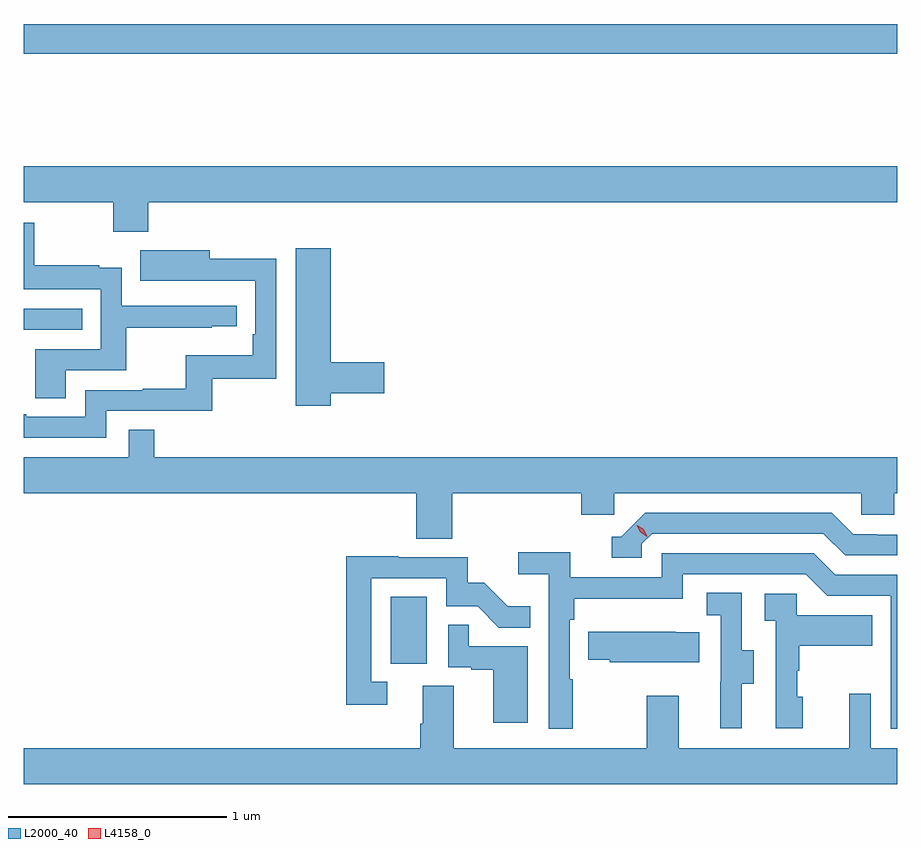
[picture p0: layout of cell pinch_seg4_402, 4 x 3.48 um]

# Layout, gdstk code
import gdstk
lib = gdstk.Library(unit=1e-6, precision=1e-09)
def R(c, l, rs):  # rectangles x0, y0, x1, y1
    for r in rs: c.add(gdstk.rectangle(r[:2], r[2:], *l))
def P(c, l, *ps):  # polygons
    for p in ps: c.add(gdstk.Polygon(p, *l))
L2000_40 = (2000, 40)
L4158_0 = (4158, 0)

pinch_seg4_402 = lib.new_cell('pinch_seg4_402')
R(pinch_seg4_402, L2000_40, [(974.066,774.726,974.23,775.033), (972.385,776.256,972.653,776.352), (972.385,777.52,976.385,777.656)])
P(pinch_seg4_402, L2000_40, [(972.956,776.84),(976.385,776.84),(976.385,777.004),(972.385,777.004),(972.385,776.84),(972.796,776.84),(972.796,776.705),(972.956,776.705)],
  [(972.577,776.07),(972.854,776.07),(972.854,776.266),(973.247,776.266),(973.247,776.271),(973.36,776.271),(973.36,776.367),(972.834,776.367),(972.834,776.539),(972.731,776.539),(972.731,776.551),(972.433,776.551),(972.433,776.745),(972.385,776.745),(972.385,776.442),(972.738,776.442),(972.738,776.166),(972.437,776.166),(972.437,775.942),(972.577,775.942)],
  [(973.792,775.966),(974.035,775.966),(974.035,776.108),(973.792,776.108),(973.792,776.629),(973.631,776.629),(973.631,775.908),(973.792,775.908)],
  [(972.762,775.884),(973.249,775.884),(973.249,776.031),(973.542,776.031),(973.542,776.582),(973.237,776.582),(973.237,776.62),(972.919,776.62),(972.919,776.48),(973.133,776.48),(973.133,776.481),(973.446,776.481),(973.446,776.236),(973.433,776.236),(973.433,776.14),(973.128,776.14),(973.128,775.985),(972.931,775.985),(972.931,775.98),(972.666,775.98),(972.666,775.857),(972.397,775.857),(972.397,775.87),(972.385,775.87),(972.385,775.761),(972.762,775.761)],
  [(974.348,775.508),(974.939,775.508),(974.939,775.41),(975.09,775.41),(975.09,775.508),(976.221,775.508),(976.221,775.41),(976.371,775.41),(976.371,775.508),(976.385,775.508),(976.385,775.672),(972.983,775.672),(972.983,775.799),(972.867,775.799),(972.867,775.672),(972.385,775.672),(972.385,775.508),(974.183,775.508),(974.183,775.3),(974.348,775.3)],
  [(975.216,775.275),(975.264,775.323),(976.047,775.323),(976.146,775.224),(976.385,775.224),(976.385,775.317),(976.29,775.317),(976.29,775.32),(976.183,775.32),(976.084,775.419),(975.231,775.419),(975.12,775.308),(975.077,775.308),(975.077,775.212),(975.216,775.212)],
  [(974.899,774.656),(974.886,774.656),(974.886,774.929),(974.906,774.929),(974.906,775.025),(975.402,775.025),(975.402,775.137),(975.966,775.137),(976.065,775.038),(976.356,775.038),(976.356,774.429),(976.385,774.429),(976.385,775.134),(976.102,775.134),(976.003,775.233),(975.306,775.233),(975.306,775.122),(974.888,775.122),(974.888,775.238),(974.649,775.238),(974.649,775.136),(974.79,775.136),(974.79,774.429),(974.899,774.429)],
  [(974.05,774.645),(973.977,774.645),(973.977,775.119),(974.319,775.119),(974.319,774.99),(974.463,774.99),(974.561,774.892),(974.705,774.892),(974.705,774.991),(974.601,774.991),(974.494,775.098),(974.418,775.098),(974.418,775.215),(974.099,775.215),(974.099,775.22),(973.861,775.22),(973.861,774.54),(974.05,774.54)],
  [(975.673,774.634),(975.727,774.634),(975.727,774.789),(975.672,774.789),(975.672,775.052),(975.513,775.052),(975.513,774.949),(975.576,774.949),(975.576,774.645),(975.575,774.645),(975.575,774.432),(975.673,774.432)],
  [(975.952,774.576),(975.927,774.576),(975.927,774.695),(975.937,774.695),(975.937,774.809),(976.271,774.809),(976.271,774.949),(975.924,774.949),(975.924,775.047),(975.777,775.047),(975.777,774.923),(975.828,774.923),(975.828,774.432),(975.952,774.432)],
  [(974.692,774.807),(974.423,774.807),(974.423,774.905),(974.328,774.905),(974.328,774.711),(974.435,774.711),(974.435,774.699),(974.534,774.699),(974.534,774.456),(974.692,774.456)],
  [(975.479,774.871),(975.371,774.871),(975.371,774.874),(974.971,774.874),(974.971,774.745),(975.069,774.745),(975.069,774.734),(975.479,774.734)],
  [(976.385,774.34),(976.263,774.34),(976.263,774.589),(976.166,774.589),(976.166,774.34),(975.385,774.34),(975.385,774.58),(975.238,774.58),(975.238,774.34),(974.353,774.34),(974.353,774.626),(974.213,774.626),(974.213,774.452),(974.201,774.452),(974.201,774.34),(972.385,774.34),(972.385,774.176),(976.385,774.176)])
P(pinch_seg4_402, L4158_0, [(975.24,775.309),(975.209,775.329),(975.193,775.361),(975.193,775.361),(975.194,775.361),(975.224,775.342),(975.24,775.31),(975.24,775.309)])

lib.write_gds('pinch_seg4_402.gds')
